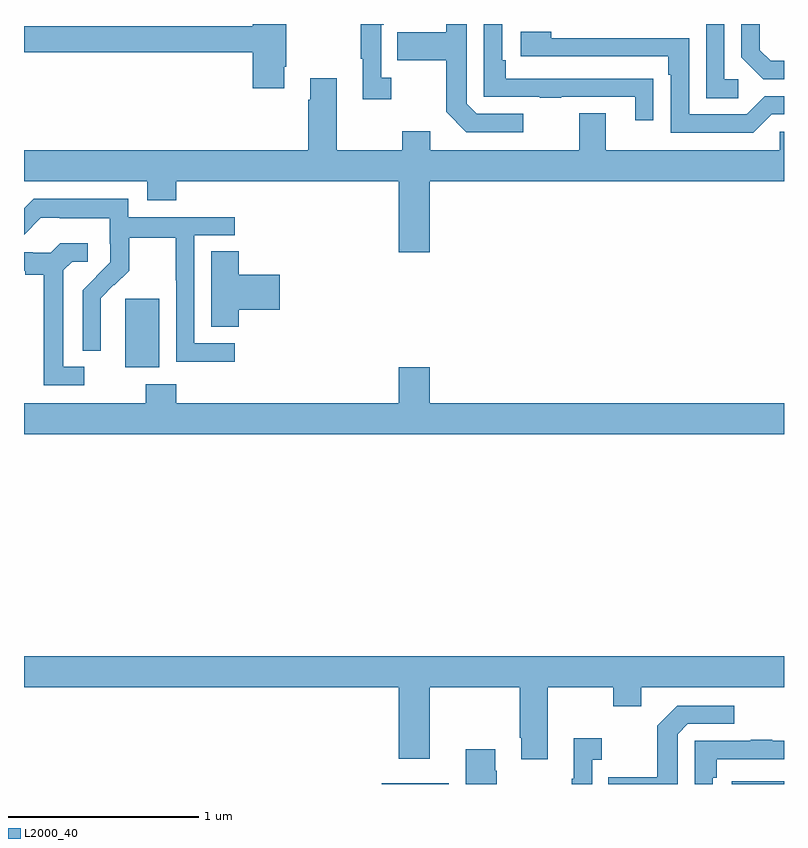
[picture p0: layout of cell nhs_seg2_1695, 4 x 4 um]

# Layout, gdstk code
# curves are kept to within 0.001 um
import gdstk
lib = gdstk.Library(unit=1e-6, precision=1e-09)
def R(c, l, rs):  # rectangles x0, y0, x1, y1
    for r in rs: c.add(gdstk.rectangle(r[:2], r[2:], *l))
def P(c, l, *ps):  # polygons
    for p in ps: c.add(gdstk.Polygon(p, *l))
L2000_40 = (2000, 40)

nhs_seg2_1695 = lib.new_cell('nhs_seg2_1695')
R(nhs_seg2_1695, L2000_40, [(200.882,641.8,201.235,641.803), (202.725,641.8,203,641.814), (199.532,643.994,199.711,644.355)])
P(nhs_seg2_1695, L2000_40, [(202.313,645.512),(202.211,645.512),(202.211,645.513),(201.536,645.513),(201.536,645.61),(201.516,645.61),(201.516,645.8),(201.42,645.8),(201.42,645.417),(201.715,645.417),(201.715,645.412),(201.827,645.412),(201.827,645.417),(202.217,645.417),(202.217,645.294),(202.313,645.294)],
  [(202.759,645.51),(202.686,645.51),(202.686,645.8),(202.59,645.8),(202.59,645.409),(202.759,645.409)],
  [(200.932,645.518),(200.88,645.518),(200.88,645.797),(200.893,645.797),(200.893,645.8),(200.772,645.8),(200.772,645.617),(200.783,645.617),(200.783,645.405),(200.932,645.405)],
  [(200.371,645.574),(200.379,645.574),(200.379,645.8),(200.204,645.8),(200.204,645.788),(199,645.788),(199,645.652),(200.204,645.652),(200.204,645.462),(200.371,645.462)],
  [(203,645.606),(202.93,645.606),(202.873,645.663),(202.873,645.8),(202.776,645.8),(202.776,645.626),(202.892,645.51),(203,645.51)],
  [(201.628,645.327),(201.384,645.327),(201.33,645.381),(201.33,645.8),(201.222,645.8),(201.222,645.757),(200.965,645.757),(200.965,645.61),(201.222,645.61),(201.222,645.337),(201.327,645.231),(201.628,645.231)],
  [(202.935,645.324),(203,645.324),(203,645.42),(202.899,645.42),(202.803,645.324),(202.5,645.324),(202.5,645.726),(201.776,645.726),(201.776,645.76),(201.615,645.76),(201.615,645.63),(202.391,645.63),(202.391,645.533),(202.404,645.533),(202.404,645.228),(202.839,645.228)],
  [(201.136,644.972),(203,644.972),(203,645.234),(202.977,645.234),(202.977,645.136),(202.063,645.136),(202.063,645.331),(201.923,645.331),(201.923,645.136),(201.139,645.136),(201.139,645.235),(200.992,645.235),(200.992,645.136),(200.647,645.136),(200.647,645.514),(200.507,645.514),(200.507,645.401),(200.495,645.401),(200.495,645.136),(199,645.136),(199,644.972),(199.649,644.972),(199.649,644.873),(199.802,644.873),(199.802,644.972),(200.972,644.972),(200.972,644.598),(201.136,644.598)],
  [(200.11,644.121),(199.896,644.121),(199.896,644.688),(200.11,644.688),(200.11,644.784),(199.548,644.784),(199.548,644.881),(199.051,644.881),(199,644.83),(199,644.692),(199.089,644.781),(199.189,644.781),(199.189,644.777),(199.452,644.777),(199.452,644.643),(199.454,644.643),(199.454,644.546),(199.308,644.398),(199.308,644.08),(199.404,644.08),(199.403,644.357),(199.473,644.427),(199.476,644.424),(199.553,644.501),(199.553,644.676),(199.798,644.676),(199.798,644.452),(199.8,644.452),(199.8,644.023),(200.11,644.023)],
  [(199.318,643.995),(199.207,643.995),(199.207,644.503),(199.254,644.55),(199.336,644.55),(199.336,644.647),(199.192,644.647),(199.14,644.595),(199.046,644.595),(199.046,644.598),(199,644.598),(199,644.502),(199.007,644.502),(199.007,644.48),(199.103,644.48),(199.103,643.899),(199.318,643.899)],
  [(200.129,644.297),(200.347,644.297),(200.347,644.48),(200.129,644.48),(200.129,644.603),(199.985,644.603),(199.985,644.206),(200.129,644.206)],
  [(203,643.804),(201.136,643.804),(201.136,643.993),(200.972,643.993),(200.972,643.804),(199.802,643.804),(199.802,643.903),(199.642,643.903),(199.642,643.804),(199,643.804),(199,643.64),(203,643.64)],
  [(201.757,642.308),(202.102,642.308),(202.102,642.209),(202.249,642.209),(202.249,642.308),(203,642.308),(203,642.472),(199,642.472),(199,642.308),(200.972,642.308),(200.972,641.934),(201.136,641.934),(201.136,642.308),(201.61,642.308),(201.61,642.043),(201.617,642.043),(201.617,641.931),(201.757,641.931)],
  [(202.44,642.063),(202.494,642.117),(202.738,642.117),(202.738,642.213),(202.437,642.213),(202.332,642.107),(202.332,641.835),(202.075,641.835),(202.075,641.8),(202.44,641.8)],
  [(201.99,641.927),(202.042,641.927),(202.042,642.04),(201.893,642.04),(201.893,641.827),(201.882,641.827),(201.882,641.8),(201.99,641.8)],
  [(202.626,641.834),(202.646,641.834),(202.646,641.931),(203,641.931),(203,642.027),(202.937,642.027),(202.937,642.032),(202.825,642.032),(202.825,642.027),(202.53,642.027),(202.53,641.8),(202.626,641.8)],
  [(201.489,641.87),(201.481,641.87),(201.481,641.983),(201.326,641.983),(201.326,641.8),(201.489,641.8)])

lib.write_gds('nhs_seg2_1695.gds')
